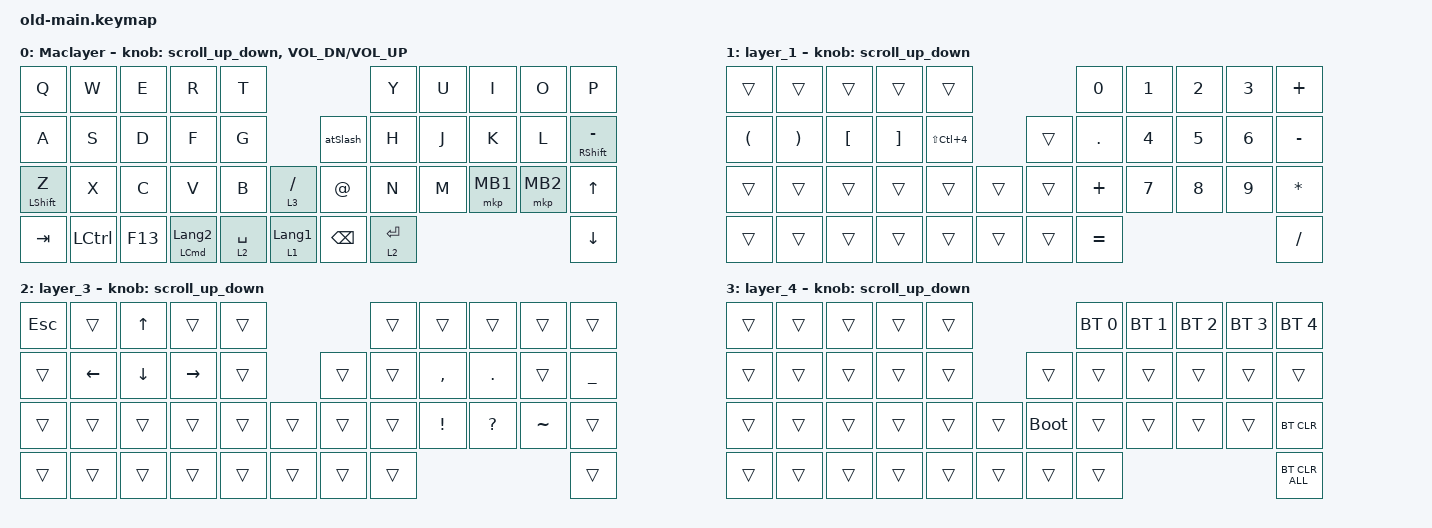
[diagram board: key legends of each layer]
#include <behaviors.dtsi>
#include <dt-bindings/zmk/bt.h>
#include <dt-bindings/zmk/keys.h>
#include <dt-bindings/zmk/pointing.h>

#define ZMK_POINTING_DEFAULT_SCRL_VAL 100
#define MOUSE 5
#define SCROLL 6

&mt {
    flavor = "balanced";
    tapping-term-ms = <300>;
    quick-tap-ms = <0>;
};

/ {
    combos { compatible = "zmk,combos"; };

    macros {
        to_layer_0: to_layer_0 {
            compatible = "zmk,behavior-macro-one-param";
            #binding-cells = <1>;
            bindings =
                <&to 0 &macro_param_1to1 &kp MACRO_PLACEHOLDER>,
                <&macro_press>;

            label = "TO_LAYER_0";
        };

        atSlash: at_and_slash {
            compatible = "zmk,behavior-macro";
            #binding-cells = <0>;
            bindings =
                <&kp LANGUAGE_2>,
                <&macro_wait_time 1>,
                <&kp AT_SIGN>,
                <&macro_wait_time 1>,
                <&kp SLASH>;

            label = "AT_AND_SLASH";
        };

        cmdSpace: commandSpace {
            compatible = "zmk,behavior-macro";
            #binding-cells = <0>;
            bindings = <&kp LEFT_COMMAND &kp SPACE>;
            label = "COMMANDSPACE";
        };
    };

    behaviors {
        lt_to_layer_0: lt_to_layer_0 {
            compatible = "zmk,behavior-hold-tap";
            label = "LAYER_TAP_TO_0";
            bindings = <&mo>, <&to_layer_0>;

            #binding-cells = <2>;
            tapping-term-ms = <300>;
        };

        scroll_up_down: behavior_sensor_rotate_mouse_wheel_up_down {
            compatible = "zmk,behavior-sensor-rotate";
            #sensor-binding-cells = <0>;
            bindings = <&msc SCRL_UP>, <&msc SCRL_DOWN>;

            tap-ms = <20>;
        };
    };

    keymap {
        compatible = "zmk,keymap";

        Maclayer {
            bindings = <
&kp Q             &kp W             &kp E    &kp R                        &kp T                                           &kp Y        &kp U  &kp I     &kp O     &kp P
&kp A             &kp S             &kp D    &kp F                        &kp G                            &atSlash       &kp H        &kp J  &kp K     &kp L     &mt RIGHT_SHIFT MINUS
&mt LEFT_SHIFT Z  &kp X             &kp C    &kp V                        &kp B        &lt 3 SLASH         &kp AT_SIGN    &kp N        &kp M  &mkp MB1  &mkp MB2  &kp UP_ARROW
&kp TAB           &kp LEFT_CONTROL  &kp F13  &mt LEFT_COMMAND LANGUAGE_2  &lt 2 SPACE  &lt 1 LANGUAGE_1    &kp BACKSPACE  &lt 2 ENTER                             &kp DOWN_ARROW
            >;

            sensor-bindings =
                <&scroll_up_down>,
                <&inc_dec_kp C_VOL_DN C_VOL_UP>;
        };

        layer_1 {
            bindings = <
&trans                &trans                 &trans            &trans             &trans                                  &kp N0      &kp NUMBER_1  &kp NUMBER_2  &kp NUMBER_3  &kp PLUS
&kp LEFT_PARENTHESIS  &kp RIGHT_PARENTHESIS  &kp LEFT_BRACKET  &kp RIGHT_BRACKET  &kp LS(LC(NUMBER_4))            &trans  &kp PERIOD  &kp NUMBER_4  &kp N5        &kp NUMBER_6  &kp MINUS
&trans                &trans                 &trans            &trans             &trans                &trans    &trans  &kp PLUS    &kp N7        &kp N8        &kp N9        &kp ASTERISK
&trans                &trans                 &trans            &trans             &trans                &trans    &trans  &kp EQUAL                                             &kp SLASH
            >;

            sensor-bindings = <&scroll_up_down>;
        };

        layer_3 {
            bindings = <
&kp ESCAPE  &trans          &kp UP_ARROW    &trans           &trans                    &trans  &trans           &trans        &trans     &trans
&trans      &kp LEFT_ARROW  &kp DOWN_ARROW  &kp RIGHT_ARROW  &trans            &trans  &trans  &kp COMMA        &kp PERIOD    &trans     &kp UNDERSCORE
&trans      &trans          &trans          &trans           &trans  &trans    &trans  &trans  &kp EXCLAMATION  &kp QUESTION  &kp TILDE  &trans
&trans      &trans          &trans          &trans           &trans  &trans    &trans  &trans                                            &trans
            >;

            sensor-bindings = <&scroll_up_down>;
        };

        layer_4 {
            bindings = <
&trans  &trans  &trans  &trans  &trans                         &bt BT_SEL 0  &bt BT_SEL 1  &bt BT_SEL 2  &bt BT_SEL 3  &bt BT_SEL 4
&trans  &trans  &trans  &trans  &trans            &trans       &trans        &trans        &trans        &trans        &trans
&trans  &trans  &trans  &trans  &trans  &trans    &bootloader  &trans        &trans        &trans        &trans        &bt BT_CLR
&trans  &trans  &trans  &trans  &trans  &trans    &trans       &trans                                                  &bt BT_CLR_ALL
            >;

            sensor-bindings = <&scroll_up_down>;
        };
    };
};
